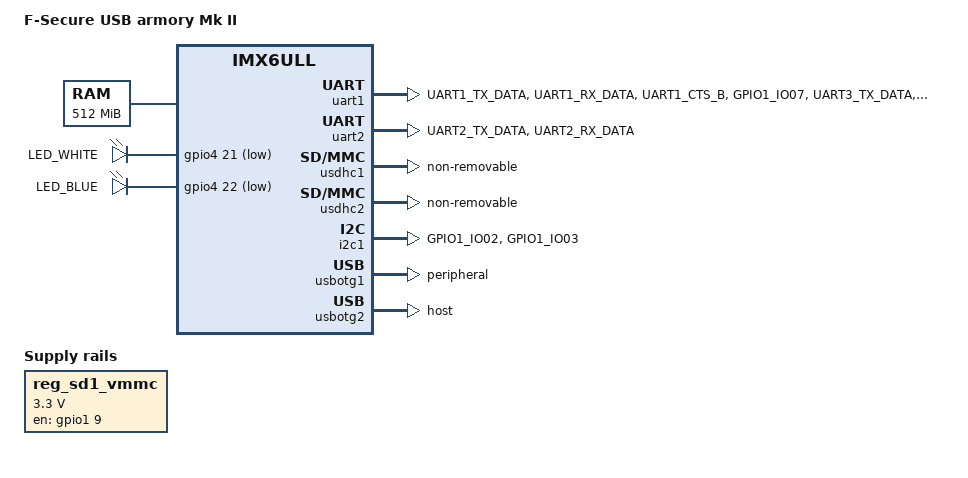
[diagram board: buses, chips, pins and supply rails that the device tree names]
/*
 * USB armory Mk II device tree file
 * https://github.com/usbarmory/usbarmory
 *
 * Copyright (C) 2019, WithSecure Corporation
 * Andrej Rosano <andrej.rosano@withsecure.com>
 *
 * This file is dual-licensed: you can use it either under the terms
 * of the GPL or the X11 license, at your option. Note that this dual
 * licensing only applies to this file, and not this project as a
 * whole.
 *
 *  a) This file is free software; you can redistribute it and/or
 *     modify it under the terms of the GNU General Public License as
 *     published by the Free Software Foundation; either version 2 of the
 *     License, or (at your option) any later version.
 *
 *     This file is distributed in the hope that it will be useful,
 *     but WITHOUT ANY WARRANTY; without even the implied warranty of
 *     MERCHANTABILITY or FITNESS FOR A PARTICULAR PURPOSE.  See the
 *     GNU General Public License for more details.
 *
 * Or, alternatively,
 *
 *  b) Permission is hereby granted, free of charge, to any person
 *     obtaining a copy of this software and associated documentation
 *     files (the "Software"), to deal in the Software without
 *     restriction, including without limitation the rights to use,
 *     copy, modify, merge, publish, distribute, sublicense, and/or
 *     sell copies of the Software, and to permit persons to whom the
 *     Software is furnished to do so, subject to the following
 *     conditions:
 *
 *     The above copyright notice and this permission notice shall be
 *     included in all copies or substantial portions of the Software.
 *
 *     THE SOFTWARE IS PROVIDED "AS IS", WITHOUT WARRANTY OF ANY KIND,
 *     EXPRESS OR IMPLIED, INCLUDING BUT NOT LIMITED TO THE WARRANTIES
 *     OF MERCHANTABILITY, FITNESS FOR A PARTICULAR PURPOSE AND
 *     NONINFRINGEMENT. IN NO EVENT SHALL THE AUTHORS OR COPYRIGHT
 *     HOLDERS BE LIABLE FOR ANY CLAIM, DAMAGES OR OTHER LIABILITY,
 *     WHETHER IN AN ACTION OF CONTRACT, TORT OR OTHERWISE, ARISING
 *     FROM, OUT OF OR IN CONNECTION WITH THE SOFTWARE OR THE USE OR
 *     OTHER DEALINGS IN THE SOFTWARE.
 */

/dts-v1/;

#include "imx6ulz.dtsi"

/ {
	model = "F-Secure USB armory Mk II";
	compatible = "inversepath,imx6ulz-usbarmory-mkII", "fsl,imx6ulz", "fsl,imx6ull";

	chosen {
		stdout-path = &uart2;
	};

	memory {
		reg = <0x80000000 0x20000000>;
	};

	leds {
		compatible = "gpio-leds";
		pinctrl-names = "default";
		pinctrl-0 = <&pinctrl_led>;

		led-white {
			label = "LED_WHITE";
			gpios = <&gpio4 21 GPIO_ACTIVE_LOW>;
			default-state = "off";
		};

		led-blue {
			label = "LED_BLUE";
			gpios = <&gpio4 22 GPIO_ACTIVE_LOW>;
			default-state = "on";
		};
	};

	regulators {
		compatible = "simple-bus";
		#address-cells = <1>;
		#size-cells = <0>;

		reg_sd1_vmmc: sd1_regulator {
			compatible = "regulator-fixed";
			regulator-name = "VSD_3V3";
			regulator-min-microvolt = <3300000>;
			regulator-max-microvolt = <3300000>;
			gpio = <&gpio1 9 GPIO_ACTIVE_HIGH>;
			enable-active-high;
		};
	};
};

&cpu0 {
	operating-points = <
		/* kHz	uV */
		900000	1275000
		792000	1225000
		528000	1175000
		396000	1025000
		198000	950000
	>;
	fsl,soc-operating-points = <
		/* KHz	uV */
		900000	1250000
		792000	1175000
		528000	1175000
		396000	1175000
		198000	1175000
	>;
};

&uart1 {
	pinctrl-names = "default";
	pinctrl-0 = <&pinctrl_bluetooth>;
	uart-has-rtscts;
	status = "okay";
};

&uart2 {
	pinctrl-names = "default";
	pinctrl-0 = <&pinctrl_uart2>;
	status = "okay";
};

&usdhc1 {
	pinctrl-names = "default";
	no-1-8-v;
	keep-power-in-suspend;
	wakeup-source;
	non-removable; // FIXME: CD works on i.MX6ULL but not i.MX6ULZ
	status = "okay";
};

&usdhc2 {
	pinctrl-names = "default";
	non-removable;
	status = "okay";
};

&i2c1 {
	pinctrl-0 = <&pinctrl_i2c1>;
	status = "okay";
};

&iomuxc {
	pinctrl_uart2: uart2grp {
		fsl,pins = <
			MX6UL_PAD_UART2_TX_DATA__UART2_DCE_TX	0x1b0b1
			MX6UL_PAD_UART2_RX_DATA__UART2_DCE_RX	0x1b0b1
		>;
	};

	pinctrl_bluetooth: uart1grp {
		fsl,pins = <
			MX6UL_PAD_UART1_TX_DATA__UART1_DCE_TX	0x1b0b0 /* BT_UART_TX  */
			MX6UL_PAD_UART1_RX_DATA__UART1_DCE_RX	0x1b0b0 /* BT_UART_RX  */
			MX6UL_PAD_UART1_CTS_B__UART1_DCE_CTS	0x1b0b0 /* BT_UART_CTS */
			MX6UL_PAD_GPIO1_IO07__UART1_DCE_RTS	0x1b0b0 /* BT_UART_RTS */
			MX6UL_PAD_UART3_TX_DATA__GPIO1_IO24	0x1f020 /* BT_UART_DSR */
			MX6UL_PAD_UART3_RX_DATA__GPIO1_IO25	0x1f020 /* BT_UART_DTR */
			MX6UL_PAD_GPIO1_IO04__GPIO1_IO04	0x1f020 /* BT_SWDCLK   */
			MX6UL_PAD_GPIO1_IO05__GPIO1_IO05	0x1f020 /* BT_SWDIO    */
			MX6UL_PAD_GPIO1_IO09__GPIO1_IO09	0x1f020 /* BT_RESET    */
			MX6UL_PAD_UART3_RTS_B__GPIO1_IO27	0x1f020 /* BT_SWITCH_1 */
			MX6UL_PAD_UART3_CTS_B__GPIO1_IO26	0x1f020 /* BT_SWITCH_2 */
		>;
	};

	pinctrl_i2c1: i2c1grp {
		fsl,pins = <
			MX6UL_PAD_GPIO1_IO02__I2C1_SCL	0x4001b8b0
			MX6UL_PAD_GPIO1_IO03__I2C1_SDA	0x4001b8b0
		>;
	};

	pinctrl_led: ledgrp {
		fsl,pins = <
			MX6UL_PAD_CSI_DATA06__GPIO4_IO27	0x1f020
			MX6UL_PAD_CSI_DATA07__GPIO4_IO28	0x1f020
		>;
	};
};

&usbotg1 {
	dr_mode = "peripheral";
	disable-over-current;
	tpl-support;
	status = "okay";
};

&usbotg2 {
	dr_mode = "host";
	disable-over-current;
	tpl-support;
	status = "okay";
};
